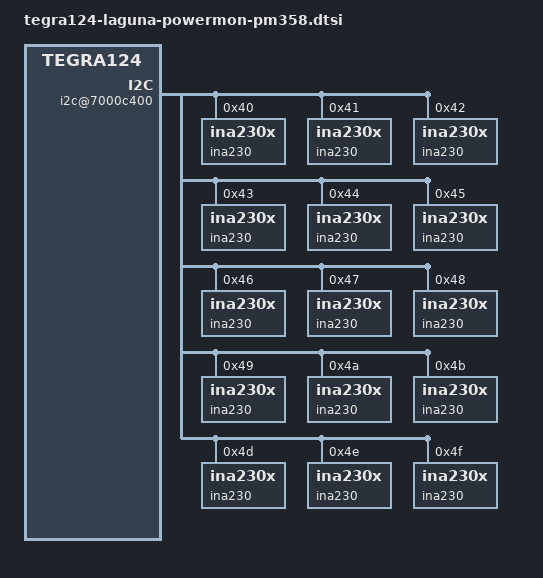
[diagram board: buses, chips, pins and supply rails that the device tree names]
/ {
	i2c@7000c400 {
		ina230@40{
			compatible = "ina230x";
			reg = <0x40>;
			ti,rail-name = "VDD_MUX";
			ti,continuous-config = <0x0407>;
			ti,trigger-config = <0x0403>;
			ti,calibration-data = <0x7FFF>;
			ti,power-lsb = <3633>;
			ti,divisor = <25>;
			ti,precision-multiplier = <1000>;
		};

		ina230@41{
			compatible = "ina230x";
			reg = <0x41>;
			ti,rail-name = "VDD_CPU";
			ti,continuous-config = <0x0407>;
			ti,trigger-config = <0x0403>;
			ti,calibration-data = <0x3E6A>;
			ti,power-lsb = <16021>;
			ti,divisor = <25>;
			ti,precision-multiplier = <1000>;
		};

		ina230@42{
			compatible = "ina230x";
			reg = <0x42>;
			ti,rail-name = "VDDIO_DDR_AP_1V35";
			ti,continuous-config = <0x0407>;
			ti,trigger-config = <0x0403>;
			ti,calibration-data = <0x7FFF>;
			ti,power-lsb = <550>;
			ti,divisor = <25>;
			ti,precision-multiplier = <1000>;
		};

		ina230@43{
			compatible = "ina230x";
			reg = <0x43>;
			ti,rail-name = "VDD_CORE";
			ti,continuous-config = <0x0407>;
			ti,trigger-config = <0x0403>;
			ti,calibration-data = <0x369D>;
			ti,power-lsb = <4577>;
			ti,divisor = <25>;
			ti,precision-multiplier = <1000>;
		};

		ina230@44{
			compatible = "ina230x";
			reg = <0x44>;
			ti,rail-name = "COM_1V8";
			ti,continuous-config = <0x0407>;
			ti,trigger-config = <0x0403>;
			ti,calibration-data = <0x7FFF>;
			ti,power-lsb = <53>;
			ti,divisor = <25>;
			ti,precision-multiplier = <1000>;
		};

		ina230@45{
			compatible = "ina230x";
			reg = <0x45>;
			ti,rail-name = "VDDIO_DDR_1V35";
			ti,continuous-config = <0x0407>;
			ti,trigger-config = <0x0403>;
			ti,calibration-data = <0x7FFF>;
			ti,power-lsb = <762>;
			ti,divisor = <25>;
			ti,precision-multiplier = <1000>;
		};

		ina230@46{
			compatible = "ina230x";
			reg = <0x46>;
			ti,rail-name = "AVDDIO_PEX_AP_1V05";
			ti,continuous-config = <0x0407>;
			ti,trigger-config = <0x0403>;
			ti,calibration-data = <0x7FFF>;
			ti,power-lsb = <356>;
			ti,divisor = <25>;
			ti,precision-multiplier = <1000>;
		};

		ina230@47{
			compatible = "ina230x";
			reg = <0x47>;
			ti,rail-name = "PEX_PLL_AP_3V3";
			ti,continuous-config = <0x0407>;
			ti,trigger-config = <0x0403>;
			ti,calibration-data = <0x7FFF>;
			ti,power-lsb = <27>;
			ti,divisor = <25>;
			ti,precision-multiplier = <1000>;
		};

		ina230@48{
			compatible = "ina230x";
			reg = <0x48>;
			ti,rail-name = "VDD_USB_AP_3V3";
			ti,continuous-config = <0x0407>;
			ti,trigger-config = <0x0403>;
			ti,calibration-data = <0x7FFF>;
			ti,power-lsb = <23>;
			ti,divisor = <25>;
			ti,precision-multiplier = <1000>;
		};

		ina230@49{
			compatible = "ina230x";
			reg = <0x49>;
			ti,rail-name = "VDD_GPU";
			ti,continuous-config = <0x0407>;
			ti,trigger-config = <0x0403>;
			ti,calibration-data = <0x4EF5>;
			ti,power-lsb = <6332>;
			ti,divisor = <25>;
			ti,precision-multiplier = <1000>;
		};

		ina230@4a{
			compatible = "ina230x";
			reg = <0x4a>;
			ti,rail-name = "HVDD_SATA_AP_3V3";
			ti,continuous-config = <0x0407>;
			ti,trigger-config = <0x0403>;
			ti,calibration-data = <0x7FFF>;
			ti,power-lsb = <3>;
			ti,divisor = <25>;
			ti,precision-multiplier = <1000>;
		};

		ina230@4b{
			compatible = "ina230x";
			reg = <0x4b>;
			ti,rail-name = "VDDIO_SYS_AP_1V8";
			ti,continuous-config = <0x0407>;
			ti,trigger-config = <0x0403>;
			ti,calibration-data = <0x7FFF>;
			ti,power-lsb = <23>;
			ti,divisor = <25>;
			ti,precision-multiplier = <1000>;
		};

		ina230@4d{
			compatible = "ina230x";
			reg = <0x4d>;
			ti,rail-name = "VDDIO_BB_AP";
			ti,continuous-config = <0x0407>;
			ti,trigger-config = <0x0403>;
			ti,calibration-data = <0x7FFF>;
			ti,power-lsb = <2>;
			ti,divisor = <25>;
			ti,precision-multiplier = <1000>;
		};

		ina230@4e{
			compatible = "ina230x";
			reg = <0x4e>;
			ti,rail-name = "AVDD_LVDS_AP_1V05";
			ti,continuous-config = <0x0407>;
			ti,trigger-config = <0x0403>;
			ti,calibration-data = <0x7FFF>;
			ti,power-lsb = <7>;
			ti,divisor = <25>;
			ti,precision-multiplier = <1000>;
		};

		ina230@4f{
			compatible = "ina230x";
			reg = <0x4f>;
			ti,rail-name = "AVDD_HDMI_AP_3V3";
			ti,continuous-config = <0x0407>;
			ti,trigger-config = <0x0403>;
			ti,calibration-data = <0x7FFF>;
			ti,power-lsb = <70>;
			ti,divisor = <25>;
			ti,precision-multiplier = <1000>;
		};
	};
};
